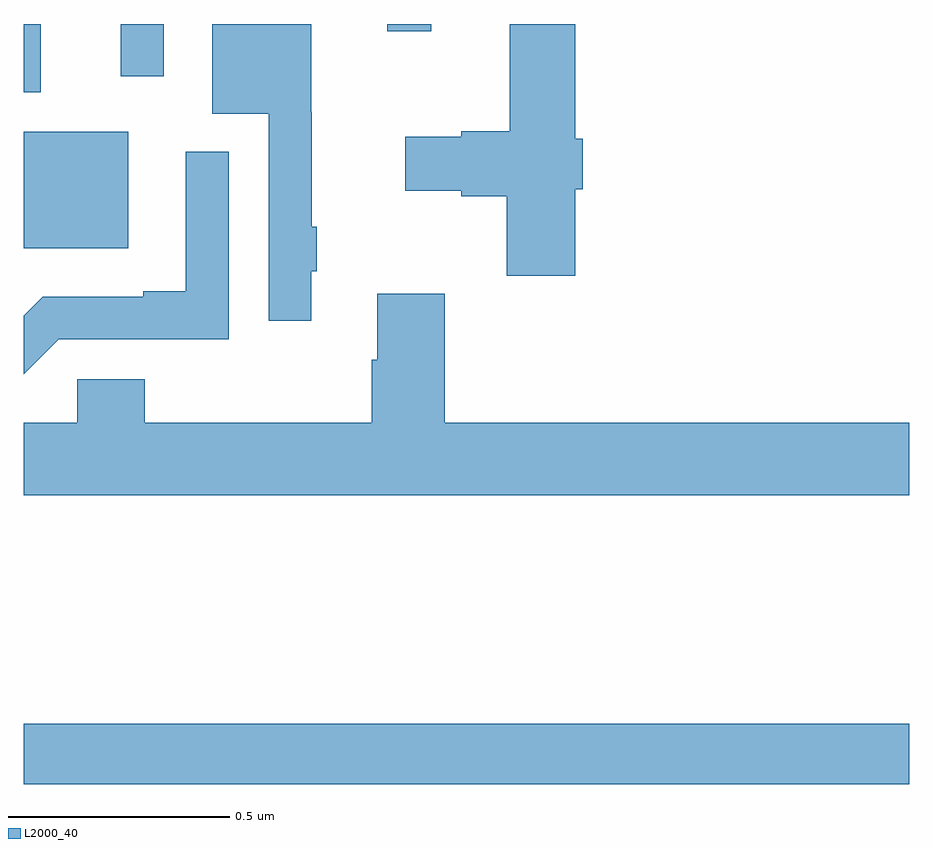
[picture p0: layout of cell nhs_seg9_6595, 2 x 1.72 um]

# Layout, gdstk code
import gdstk
lib = gdstk.Library(unit=1e-6, precision=1e-09)
def R(c, l, rs):  # rectangles x0, y0, x1, y1
    for r in rs: c.add(gdstk.rectangle(r[:2], r[2:], *l))
def P(c, l, *ps):  # polygons
    for p in ps: c.add(gdstk.Polygon(p, *l))
L2000_40 = (2000, 40)

nhs_seg9_6595 = lib.new_cell('nhs_seg9_6595')
R(nhs_seg9_6595, L2000_40, [(194,1179.784,196,1179.92), (194,1180.994,194.236,1181.257), (194,1181.346,194.039,1181.5), (194.219,1181.382,194.316,1181.5), (194.821,1181.484,194.92,1181.5)])
P(nhs_seg9_6595, L2000_40, [(195.245,1181.127),(195.263,1181.127),(195.263,1181.241),(195.245,1181.241),(195.245,1181.5),(195.098,1181.5),(195.098,1181.258),(194.988,1181.258),(194.988,1181.245),(194.862,1181.245),(194.862,1181.123),(194.988,1181.123),(194.988,1181.111),(195.091,1181.111),(195.091,1180.932),(195.245,1180.932)],
  [(194.65,1180.942),(194.662,1180.942),(194.662,1181.042),(194.651,1181.042),(194.651,1181.301),(194.65,1181.301),(194.65,1181.5),(194.426,1181.5),(194.426,1181.297),(194.553,1181.297),(194.553,1180.83),(194.65,1180.83)],
  [(194.079,1180.788),(194.463,1180.788),(194.463,1181.212),(194.366,1181.212),(194.366,1180.897),(194.27,1180.897),(194.27,1180.884),(194.043,1180.884),(194,1180.841),(194,1180.709)],
  [(196,1180.6),(194.951,1180.6),(194.951,1180.891),(194.798,1180.891),(194.798,1180.742),(194.786,1180.742),(194.786,1180.6),(194.273,1180.6),(194.273,1180.698),(194.121,1180.698),(194.121,1180.6),(194,1180.6),(194,1180.436),(196,1180.436)])

lib.write_gds('nhs_seg9_6595.gds')
